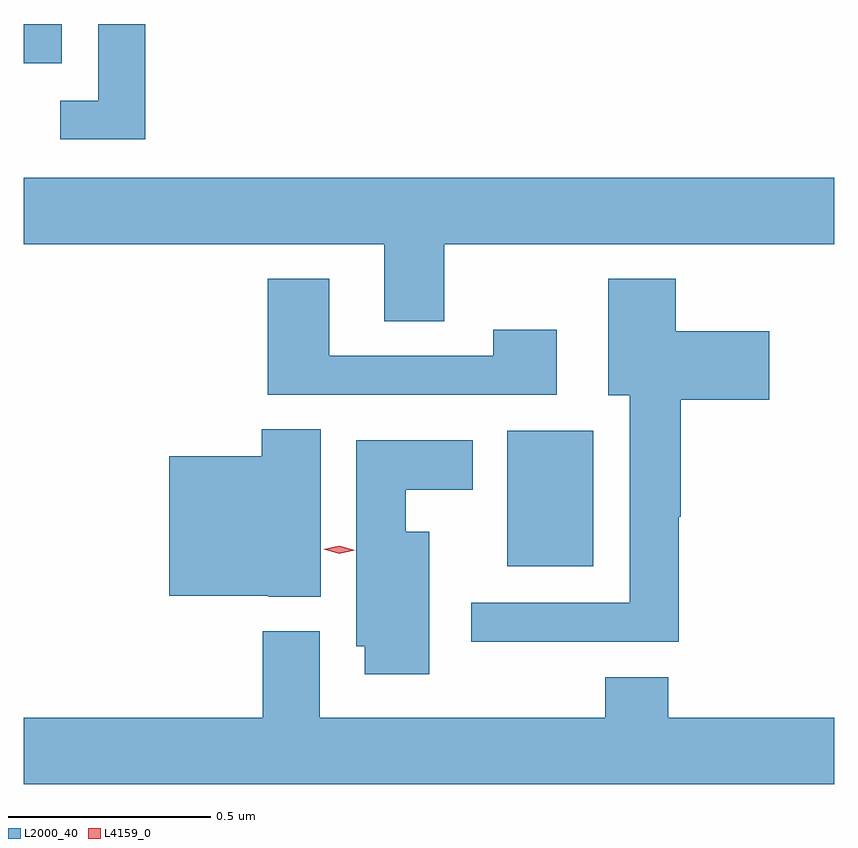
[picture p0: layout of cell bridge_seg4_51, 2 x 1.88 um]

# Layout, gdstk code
import gdstk
lib = gdstk.Library(unit=1e-6, precision=1e-09)
def R(c, l, rs):  # rectangles x0, y0, x1, y1
    for r in rs: c.add(gdstk.rectangle(r[:2], r[2:], *l))
def P(c, l, *ps):  # polygons
    for p in ps: c.add(gdstk.Polygon(p, *l))
L2000_40 = (2000, 40)
L4159_0 = (4159, 0)

bridge_seg4_51 = lib.new_cell('bridge_seg4_51')
R(bridge_seg4_51, L2000_40, [(739.604,768.053,739.816,768.388), (738.411,769.295,738.505,769.392)])
P(bridge_seg4_51, L2000_40, [(738.71,769.392),(738.594,769.392),(738.594,769.203),(738.501,769.203),(738.501,769.107),(738.71,769.107)],
  [(739.449,768.848),(740.411,768.848),(740.411,769.012),(738.411,769.012),(738.411,768.848),(739.301,768.848),(739.301,768.658),(739.449,768.658)],
  [(739.726,768.637),(739.57,768.637),(739.57,768.573),(739.165,768.573),(739.165,768.763),(739.013,768.763),(739.013,768.477),(739.726,768.477)],
  [(740.028,768.176),(740.033,768.176),(740.033,768.464),(740.251,768.464),(740.251,768.634),(740.02,768.634),(740.02,768.763),(739.853,768.763),(739.853,768.476),(739.907,768.476),(739.907,767.964),(739.515,767.964),(739.515,767.867),(740.028,767.867)],
  [(739.144,768.392),(738.998,768.392),(738.998,768.325),(738.77,768.325),(738.77,767.981),(739.014,767.981),(739.014,767.978),(739.144,767.978)],
  [(739.411,768.139),(739.354,768.139),(739.354,768.242),(739.519,768.242),(739.519,768.364),(739.232,768.364),(739.232,767.856),(739.253,767.856),(739.253,767.787),(739.411,767.787)],
  [(740.411,767.68),(740.001,767.68),(740.001,767.779),(739.846,767.779),(739.846,767.68),(739.141,767.68),(739.141,767.893),(739.001,767.893),(739.001,767.68),(738.411,767.68),(738.411,767.516),(740.411,767.516)])
P(bridge_seg4_51, L4159_0, [(739.189,768.084),(739.151,768.096),(739.15,768.096),(739.151,768.096),(739.19,768.104),(739.228,768.093),(739.228,768.093),(739.228,768.093)])

lib.write_gds('bridge_seg4_51.gds')
